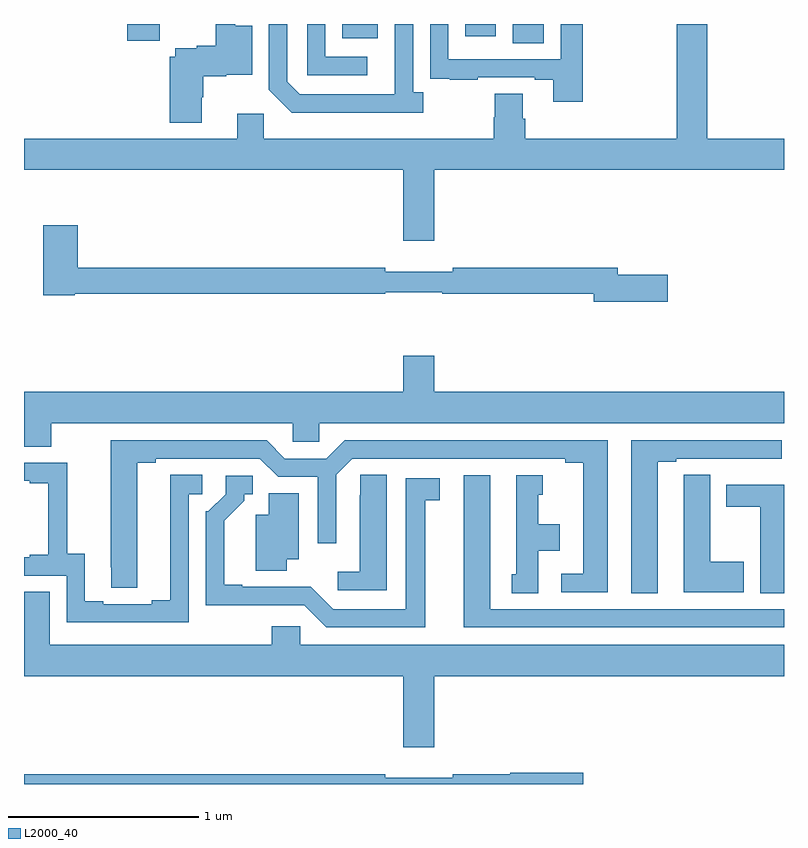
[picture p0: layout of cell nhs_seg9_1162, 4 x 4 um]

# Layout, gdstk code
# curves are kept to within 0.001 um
import gdstk
lib = gdstk.Library(unit=1e-6, precision=1e-09)
def R(c, l, rs):  # rectangles x0, y0, x1, y1
    for r in rs: c.add(gdstk.rectangle(r[:2], r[2:], *l))
def P(c, l, *ps):  # polygons
    for p in ps: c.add(gdstk.Polygon(p, *l))
L2000_40 = (2000, 40)

nhs_seg9_1162 = lib.new_cell('nhs_seg9_1162')
R(nhs_seg9_1162, L2000_40, [(177.572,1218.4,177.736,1218.5), (175.544,1218.411,175.714,1218.5), (176.675,1218.425,176.863,1218.5), (177.323,1218.435,177.484,1218.5)])
P(nhs_seg9_1162, L2000_40, [(177.1,1218.142),(177.048,1218.142),(177.048,1218.5),(176.952,1218.5),(176.951,1218.129),(176.451,1218.129),(176.385,1218.195),(176.385,1218.5),(176.289,1218.5),(176.289,1218.153),(176.41,1218.032),(177.1,1218.032)],
  [(175.936,1218.114),(175.944,1218.114),(175.944,1218.226),(176.064,1218.226),(176.064,1218.233),(176.2,1218.233),(176.2,1218.49),(176.111,1218.49),(176.111,1218.5),(176.008,1218.5),(176.008,1218.386),(175.908,1218.386),(175.908,1218.373),(175.796,1218.373),(175.796,1218.327),(175.766,1218.327),(175.766,1217.981),(175.936,1217.981)],
  [(177.941,1218.5),(177.825,1218.5),(177.825,1218.315),(177.234,1218.315),(177.234,1218.5),(177.138,1218.5),(177.138,1218.322),(177.139,1218.322),(177.139,1218.213),(177.241,1218.213),(177.241,1218.207),(177.389,1218.207),(177.389,1218.219),(177.689,1218.219),(177.689,1218.207),(177.785,1218.207),(177.785,1218.09),(177.941,1218.09)],
  [(177.16,1217.732),(179,1217.732),(179,1217.896),(178.596,1217.896),(178.596,1218.5),(178.436,1218.5),(178.436,1217.896),(177.638,1217.896),(177.638,1218.002),(177.625,1218.002),(177.625,1218.134),(177.478,1218.134),(177.478,1218.009),(177.473,1218.009),(177.473,1217.896),(176.262,1217.896),(176.262,1218.028),(176.123,1218.028),(176.123,1217.896),(175,1217.896),(175,1217.732),(176.996,1217.732),(176.996,1217.358),(177.16,1217.358)],
  [(176.806,1218.327),(176.586,1218.327),(176.586,1218.5),(176.49,1218.5),(176.49,1218.231),(176.806,1218.231)],
  [(178.387,1217.18),(178.126,1217.18),(178.126,1217.216),(177.256,1217.216),(177.256,1217.197),(176.9,1217.197),(176.9,1217.216),(175.283,1217.216),(175.283,1217.44),(175.1,1217.44),(175.1,1217.072),(175.266,1217.072),(175.266,1217.08),(176.902,1217.08),(176.902,1217.088),(177.202,1217.088),(177.202,1217.08),(177.998,1217.08),(177.998,1217.038),(178.387,1217.038)],
  [(175.143,1216.4),(176.415,1216.4),(176.415,1216.302),(176.553,1216.302),(176.553,1216.4),(179,1216.4),(179,1216.564),(177.16,1216.564),(177.16,1216.753),(176.996,1216.753),(176.996,1216.564),(175,1216.564),(175,1216.276),(175.143,1216.276)],
  [(178.072,1216.308),(176.687,1216.308),(176.591,1216.212),(176.373,1216.212),(176.277,1216.308),(175.457,1216.308),(175.458,1215.532),(175.597,1215.532),(175.597,1216.192),(175.693,1216.192),(175.693,1216.212),(176.241,1216.212),(176.337,1216.116),(176.547,1216.116),(176.547,1215.768),(176.643,1215.768),(176.643,1216.128),(176.727,1216.212),(177.848,1216.212),(177.848,1216.192),(177.944,1216.192),(177.944,1215.606),(177.828,1215.606),(177.828,1215.51),(178.072,1215.51)],
  [(178.336,1216.197),(178.432,1216.197),(178.432,1216.212),(178.708,1216.212),(178.708,1216.211),(178.874,1216.211),(178.874,1216.212),(178.987,1216.212),(178.987,1216.308),(178.196,1216.308),(178.196,1215.505),(178.336,1215.505)],
  [(175.866,1216.026),(175.939,1216.026),(175.939,1216.127),(175.769,1216.127),(175.769,1215.467),(175.673,1215.467),(175.673,1215.447),(175.417,1215.447),(175.417,1215.462),(175.321,1215.462),(175.321,1215.713),(175.227,1215.713),(175.227,1216.191),(175,1216.191),(175,1216.095),(175.031,1216.095),(175.031,1216.083),(175.127,1216.083),(175.127,1215.706),(175.031,1215.706),(175.031,1215.693),(175,1215.693),(175,1215.597),(175.224,1215.597),(175.224,1215.351),(175.866,1215.351)],
  [(178.789,1215.669),(178.612,1215.669),(178.612,1216.127),(178.473,1216.127),(178.473,1216.019),(178.472,1216.019),(178.472,1215.509),(178.789,1215.509)],
  [(176.908,1216.127),(176.769,1216.127),(176.769,1216.019),(176.768,1216.019),(176.768,1215.616),(176.652,1215.616),(176.652,1215.519),(176.908,1215.519)],
  [(179,1215.42),(177.454,1215.42),(177.454,1216.126),(177.314,1216.126),(177.314,1215.324),(179,1215.324)],
  [(177.706,1215.728),(177.82,1215.728),(177.82,1215.868),(177.706,1215.868),(177.706,1216.023),(177.73,1216.023),(177.73,1216.126),(177.59,1216.126),(177.59,1215.603),(177.566,1215.603),(177.566,1215.505),(177.706,1215.505)],
  [(177.112,1215.994),(177.187,1215.994),(177.187,1216.11),(177.008,1216.11),(177.008,1215.42),(176.628,1215.42),(176.51,1215.538),(176.149,1215.537),(176.149,1215.55),(176.053,1215.55),(176.053,1215.886),(176.158,1215.991),(176.158,1216.026),(176.203,1216.026),(176.203,1216.122),(176.061,1216.122),(176.061,1216.026),(175.971,1215.936),(175.956,1215.936),(175.956,1215.44),(176.475,1215.441),(176.592,1215.324),(177.112,1215.324)],
  [(179,1216.074),(178.697,1216.074),(178.697,1215.958),(178.874,1215.958),(178.874,1215.505),(179,1215.505)],
  [(176.383,1215.683),(176.446,1215.683),(176.446,1216.031),(176.288,1216.031),(176.288,1215.916),(176.219,1215.916),(176.219,1215.622),(176.383,1215.622)],
  [(177.16,1215.068),(179,1215.068),(179,1215.232),(176.454,1215.232),(176.454,1215.33),(176.303,1215.33),(176.303,1215.232),(175.135,1215.232),(175.135,1215.512),(175,1215.512),(175,1215.068),(176.996,1215.068),(176.996,1214.694),(177.16,1214.694)],
  [(177.943,1214.558),(177.558,1214.558),(177.558,1214.552),(177.256,1214.552),(177.256,1214.533),(176.9,1214.533),(176.9,1214.552),(175,1214.552),(175,1214.5),(177.943,1214.5)])

lib.write_gds('nhs_seg9_1162.gds')
